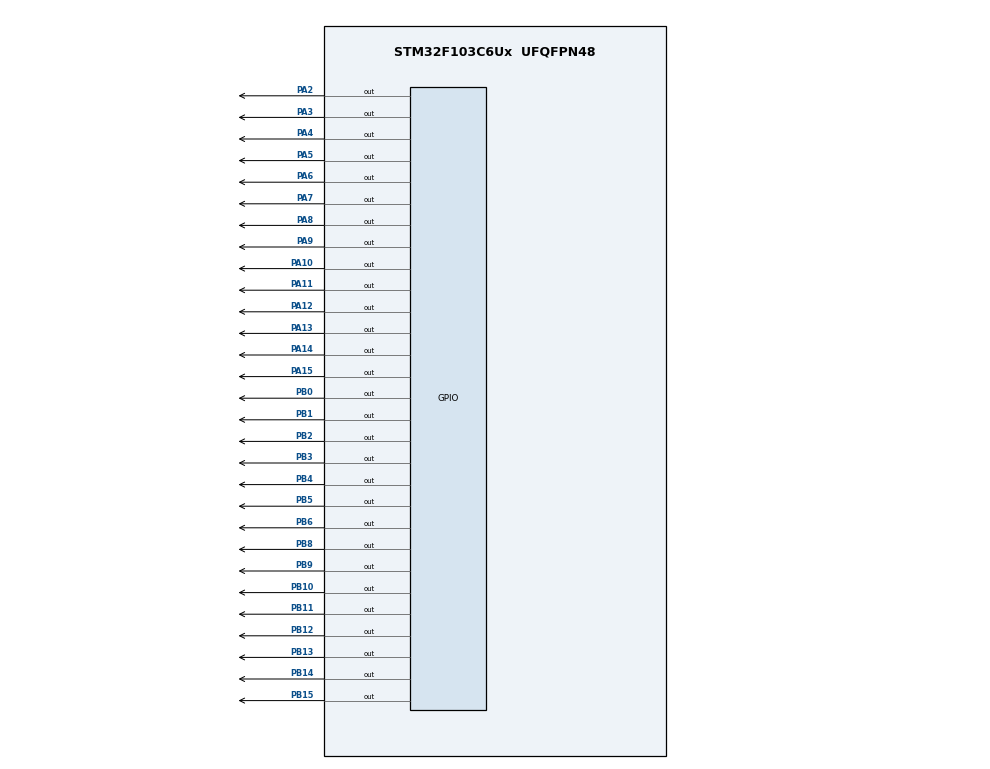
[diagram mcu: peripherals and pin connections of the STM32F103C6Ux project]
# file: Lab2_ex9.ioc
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Mcu.Family=STM32F1
Mcu.Name=STM32F103C6Ux
Mcu.Package=UFQFPN48
NVIC.PriorityGroup=NVIC_PRIORITYGROUP_4
NVIC.TIM2_IRQn=true\:0\:0\:false\:false\:true\:true\:true
PA10.Signal=GPIO_Output
PA11.Signal=GPIO_Output
PA12.Signal=GPIO_Output
PA13.Signal=GPIO_Output
PA14.Signal=GPIO_Output
PA15.Signal=GPIO_Output
PA2.Signal=GPIO_Output
PA3.Signal=GPIO_Output
PA4.Signal=GPIO_Output
PA5.Signal=GPIO_Output
PA6.Signal=GPIO_Output
PA7.Signal=GPIO_Output
PA8.Signal=GPIO_Output
PA9.Signal=GPIO_Output
PB0.Signal=GPIO_Output
PB1.Signal=GPIO_Output
PB10.Signal=GPIO_Output
PB11.Signal=GPIO_Output
PB12.Signal=GPIO_Output
PB13.Signal=GPIO_Output
PB14.Signal=GPIO_Output
PB15.Signal=GPIO_Output
PB2.Signal=GPIO_Output
PB3.Signal=GPIO_Output
PB4.Signal=GPIO_Output
PB5.Signal=GPIO_Output
PB6.Signal=GPIO_Output
PB8.Signal=GPIO_Output
PB9.Signal=GPIO_Output
ProjectManager.HeapSize=0x200
ProjectManager.StackSize=0x400
ProjectManager.TargetToolchain=STM32CubeIDE
RCC.APB1Freq_Value=8000000
RCC.APB2Freq_Value=8000000
TIM2.Period=1
TIM2.Prescaler=7999
VP_SYS_VS_ND.Mode=No_Debug
VP_TIM2_VS_ClockSourceINT.Mode=Internal
board=custom

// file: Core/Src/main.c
/* USER CODE BEGIN Header */
/**
  ******************************************************************************
  * @file           : main.c
  * @brief          : Main program body
  ******************************************************************************
  * @attention
  *
  * <h2><center>&copy; Copyright (c) 2025 STMicroelectronics.
  * All rights reserved.</center></h2>
  *
  * This software component is licensed by ST under BSD 3-Clause license,
  * the "License"; You may not use this file except in compliance with the
  * License. You may obtain a copy of the License at:
  *                        opensource.org/licenses/BSD-3-Clause
  *
  ******************************************************************************
  */
/* USER CODE END Header */
#include "main.h"

TIM_HandleTypeDef htim2;

void SystemClock_Config(void);
static void MX_GPIO_Init(void);
static void MX_TIM2_Init(void);

/* USER CODE BEGIN 0 */
void display7SEG(uint8_t num){
	if (num > 9) return;
	switch (num)
	{
	case 0:
		HAL_GPIO_WritePin(GPIOB, GPIO_PIN_0, GPIO_PIN_RESET);
		HAL_GPIO_WritePin(GPIOB, GPIO_PIN_1, GPIO_PIN_RESET);
		HAL_GPIO_WritePin(GPIOB, GPIO_PIN_2, GPIO_PIN_RESET);
		HAL_GPIO_WritePin(GPIOB, GPIO_PIN_3, GPIO_PIN_RESET);
		HAL_GPIO_WritePin(GPIOB, GPIO_PIN_4, GPIO_PIN_RESET);
		HAL_GPIO_WritePin(GPIOB, GPIO_PIN_5, GPIO_PIN_RESET);
		HAL_GPIO_WritePin(GPIOB, GPIO_PIN_6, GPIO_PIN_SET);
		break;
	case 1:
		HAL_GPIO_WritePin(GPIOB, GPIO_PIN_0, GPIO_PIN_SET);
		HAL_GPIO_WritePin(GPIOB, GPIO_PIN_1, GPIO_PIN_RESET);
		HAL_GPIO_WritePin(GPIOB, GPIO_PIN_2, GPIO_PIN_RESET);
		HAL_GPIO_WritePin(GPIOB, GPIO_PIN_3, GPIO_PIN_SET);
		HAL_GPIO_WritePin(GPIOB, GPIO_PIN_4, GPIO_PIN_SET);
		HAL_GPIO_WritePin(GPIOB, GPIO_PIN_5, GPIO_PIN_SET);
		HAL_GPIO_WritePin(GPIOB, GPIO_PIN_6, GPIO_PIN_SET);
		break;
	case 2:
		HAL_GPIO_WritePin(GPIOB, GPIO_PIN_0, GPIO_PIN_RESET);
		HAL_GPIO_WritePin(GPIOB, GPIO_PIN_1, GPIO_PIN_RESET);
		HAL_GPIO_WritePin(GPIOB, GPIO_PIN_2, GPIO_PIN_SET);
		HAL_GPIO_WritePin(GPIOB, GPIO_PIN_3, GPIO_PIN_RESET);
		HAL_GPIO_WritePin(GPIOB, GPIO_PIN_4, GPIO_PIN_RESET);
		HAL_GPIO_WritePin(GPIOB, GPIO_PIN_5, GPIO_PIN_SET);
		HAL_GPIO_WritePin(GPIOB, GPIO_PIN_6, GPIO_PIN_RESET);
		break;
	case 3:
		HAL_GPIO_WritePin(GPIOB, GPIO_PIN_0, GPIO_PIN_RESET);
		HAL_GPIO_WritePin(GPIOB, GPIO_PIN_1, GPIO_PIN_RESET);
		HAL_GPIO_WritePin(GPIOB, GPIO_PIN_2, GPIO_PIN_RESET);
		HAL_GPIO_WritePin(GPIOB, GPIO_PIN_3, GPIO_PIN_RESET);
		HAL_GPIO_WritePin(GPIOB, GPIO_PIN_4, GPIO_PIN_SET);
		HAL_GPIO_WritePin(GPIOB, GPIO_PIN_5, GPIO_PIN_SET);
		HAL_GPIO_WritePin(GPIOB, GPIO_PIN_6, GPIO_PIN_RESET);
		break;
	case 4:
        HAL_GPIO_WritePin(GPIOB, GPIO_PIN_0, GPIO_PIN_SET);
        HAL_GPIO_WritePin(GPIOB, GPIO_PIN_1, GPIO_PIN_RESET);
        HAL_GPIO_WritePin(GPIOB, GPIO_PIN_2, GPIO_PIN_RESET);
        HAL_GPIO_WritePin(GPIOB, GPIO_PIN_3, GPIO_PIN_SET);
        HAL_GPIO_WritePin(GPIOB, GPIO_PIN_4, GPIO_PIN_SET);
        HAL_GPIO_WritePin(GPIOB, GPIO_PIN_5, GPIO_PIN_RESET);
        HAL_GPIO_WritePin(GPIOB, GPIO_PIN_6, GPIO_PIN_RESET);
        break;
	case 5:
		HAL_GPIO_WritePin(GPIOB, GPIO_PIN_0, GPIO_PIN_RESET);
		HAL_GPIO_WritePin(GPIOB, GPIO_PIN_1, GPIO_PIN_SET);
		HAL_GPIO_WritePin(GPIOB, GPIO_PIN_2, GPIO_PIN_RESET);
		HAL_GPIO_WritePin(GPIOB, GPIO_PIN_3, GPIO_PIN_RESET);
		HAL_GPIO_WritePin(GPIOB, GPIO_PIN_4, GPIO_PIN_SET);
		HAL_GPIO_WritePin(GPIOB, GPIO_PIN_5, GPIO_PIN_RESET);
		HAL_GPIO_WritePin(GPIOB, GPIO_PIN_6, GPIO_PIN_RESET);
		break;
	case 6:
		HAL_GPIO_WritePin(GPIOB, GPIO_PIN_0, GPIO_PIN_RESET);
		HAL_GPIO_WritePin(GPIOB, GPIO_PIN_1, GPIO_PIN_SET);
		HAL_GPIO_WritePin(GPIOB, GPIO_PIN_2, GPIO_PIN_RESET);
		HAL_GPIO_WritePin(GPIOB, GPIO_PIN_3, GPIO_PIN_RESET);
		HAL_GPIO_WritePin(GPIOB, GPIO_PIN_4, GPIO_PIN_RESET);
		HAL_GPIO_WritePin(GPIOB, GPIO_PIN_5, GPIO_PIN_RESET);
		HAL_GPIO_WritePin(GPIOB, GPIO_PIN_6, GPIO_PIN_RESET);
		break;
	case 7:
		HAL_GPIO_WritePin(GPIOB, GPIO_PIN_0, GPIO_PIN_RESET);
		HAL_GPIO_WritePin(GPIOB, GPIO_PIN_1, GPIO_PIN_RESET);
		HAL_GPIO_WritePin(GPIOB, GPIO_PIN_2, GPIO_PIN_RESET);
		HAL_GPIO_WritePin(GPIOB, GPIO_PIN_3, GPIO_PIN_SET);
		HAL_GPIO_WritePin(GPIOB, GPIO_PIN_4, GPIO_PIN_SET);
		HAL_GPIO_WritePin(GPIOB, GPIO_PIN_5, GPIO_PIN_SET);
		HAL_GPIO_WritePin(GPIOB, GPIO_PIN_6, GPIO_PIN_SET);
		break;
	case 8:
		HAL_GPIO_WritePin(GPIOB, GPIO_PIN_0, GPIO_PIN_RESET);
		HAL_GPIO_WritePin(GPIOB, GPIO_PIN_1, GPIO_PIN_RESET);
		HAL_GPIO_WritePin(GPIOB, GPIO_PIN_2, GPIO_PIN_RESET);
		HAL_GPIO_WritePin(GPIOB, GPIO_PIN_3, GPIO_PIN_RESET);
		HAL_GPIO_WritePin(GPIOB, GPIO_PIN_4, GPIO_PIN_RESET);
		HAL_GPIO_WritePin(GPIOB, GPIO_PIN_5, GPIO_PIN_RESET);
		HAL_GPIO_WritePin(GPIOB, GPIO_PIN_6, GPIO_PIN_RESET);
		break;
	case 9:
		HAL_GPIO_WritePin(GPIOB, GPIO_PIN_0, GPIO_PIN_RESET);
		HAL_GPIO_WritePin(GPIOB, GPIO_PIN_1, GPIO_PIN_RESET);
		HAL_GPIO_WritePin(GPIOB, GPIO_PIN_2, GPIO_PIN_RESET);
		HAL_GPIO_WritePin(GPIOB, GPIO_PIN_3, GPIO_PIN_RESET);
HAL_GPIO_WritePin(GPIOB, GPIO_PIN_4, GPIO_PIN_SET);
		HAL_GPIO_WritePin(GPIOB, GPIO_PIN_5, GPIO_PIN_RESET);
		HAL_GPIO_WritePin(GPIOB, GPIO_PIN_6, GPIO_PIN_RESET);
		break;
	default:
		HAL_GPIO_WritePin(GPIOB, GPIO_PIN_0, GPIO_PIN_SET);
		HAL_GPIO_WritePin(GPIOB, GPIO_PIN_1, GPIO_PIN_SET);
		HAL_GPIO_WritePin(GPIOB, GPIO_PIN_2, GPIO_PIN_SET);
		HAL_GPIO_WritePin(GPIOB, GPIO_PIN_3, GPIO_PIN_SET);
		HAL_GPIO_WritePin(GPIOB, GPIO_PIN_4, GPIO_PIN_SET);
		HAL_GPIO_WritePin(GPIOB, GPIO_PIN_5, GPIO_PIN_SET);
		HAL_GPIO_WritePin(GPIOB, GPIO_PIN_6, GPIO_PIN_SET);
		break;
	}
}

const int MAX_LED = 4;
int index_led = 0;
int led_buffer[4];

void update7SEG(int index) {
	HAL_GPIO_WritePin(GPIOA, GPIO_PIN_6|GPIO_PIN_7|GPIO_PIN_8|GPIO_PIN_9, GPIO_PIN_SET);

	display7SEG(led_buffer[index]);

	switch(index){
		case 0: HAL_GPIO_WritePin(GPIOA, GPIO_PIN_6, GPIO_PIN_RESET); break;
		case 1: HAL_GPIO_WritePin(GPIOA, GPIO_PIN_7, GPIO_PIN_RESET); break;
		case 2: HAL_GPIO_WritePin(GPIOA, GPIO_PIN_8, GPIO_PIN_RESET); break;
		case 3: HAL_GPIO_WritePin(GPIOA, GPIO_PIN_9, GPIO_PIN_RESET); break;

	}
}

void updateClockBuffer(int hour, int minute)
{
    led_buffer[0] = (hour / 10) % 10;
    led_buffer[1] = hour % 10;
    led_buffer[2] = (minute / 10) % 10;
    led_buffer[3] = minute % 10;
}

int timer0_counter = 0;
int timer0_flag = 0;
int timer1_counter = 0;
int timer1_flag = 0;
int timer2_counter = 0;
int timer2_flag = 0;
int timer3_counter = 0;
int timer3_flag = 0;
int TIMER_CYCLE = 1;

void setTimer0(int duration) {
    timer0_counter = duration / TIMER_CYCLE;
    timer0_flag = 0;
}

void setTimer1(int duration) {
    timer1_counter = duration / TIMER_CYCLE;
    timer1_flag = 0;
}

void setTimer2(int duration) {
    timer2_counter = duration / TIMER_CYCLE;
    timer2_flag = 0;
}

void setTimer3(int duration) {
    timer3_counter = duration / TIMER_CYCLE;
    timer3_flag = 0;
}

void timer_run() {
    if (timer0_counter > 0) {
        timer0_counter--;
        if (timer0_counter <= 0) timer0_flag = 1;
    }
    if (timer1_counter > 0) {
        timer1_counter--;
        if (timer1_counter <= 0) timer1_flag = 1;
    }
    if (timer2_counter > 0) {
		timer2_counter--;
		if (timer2_counter <= 0) timer2_flag = 1;
	}
    if (timer3_counter > 0) {
		timer3_counter--;
		if (timer3_counter <= 0) timer3_flag = 1;
	}
}

void HAL_TIM_PeriodElapsedCallback(TIM_HandleTypeDef *htim) {
	if (htim->Instance == TIM2) {
		timer_run();
	}
}

const int MAX_LED_MATRIX = 8;
int index_led_matrix = 0;
uint8_t matrix_buffer[8] = {
	0b00111000,
	0b01000100,
	0b10000010,
	0b11111110,
	0b10000010,
	0b10000010,
	0b10000010,
	0b00000000
};

GPIO_TypeDef* rowPort = GPIOA;
const uint16_t rowPins[8] = {
    GPIO_PIN_2,  // ENM0
    GPIO_PIN_3,  // ENM1
    GPIO_PIN_10, // ENM2
    GPIO_PIN_11, // ENM3
    GPIO_PIN_12, // ENM4
    GPIO_PIN_13, // ENM5
    GPIO_PIN_14, // ENM6
	GPIO_PIN_15  // ENM7
};

GPIO_TypeDef* colPort = GPIOB;
const uint16_t colPins[8] = {
    GPIO_PIN_8,
    GPIO_PIN_9,
    GPIO_PIN_10,
    GPIO_PIN_11,
    GPIO_PIN_12,
    GPIO_PIN_13,
    GPIO_PIN_14,
    GPIO_PIN_15
};

void updateLEDMatrixRow(int r) {
    // Tắt tất cả row
    HAL_GPIO_WritePin(GPIOA, GPIO_PIN_2|GPIO_PIN_3|GPIO_PIN_10|GPIO_PIN_11|
                               GPIO_PIN_12|GPIO_PIN_13|GPIO_PIN_14|GPIO_PIN_15,
                               GPIO_PIN_SET);

    // Tắt tất cả col
    HAL_GPIO_WritePin(GPIOB, GPIO_PIN_8|GPIO_PIN_9|GPIO_PIN_10|GPIO_PIN_11|
                               GPIO_PIN_12|GPIO_PIN_13|GPIO_PIN_14|GPIO_PIN_15,
                               GPIO_PIN_SET);

    // Lấy dữ liệu cho row r
    uint8_t colData = matrix_buffer[r];
    for (int c = 0; c < 8; c++) {
        if (colData & (1 << (7 - c))) {
            HAL_GPIO_WritePin(GPIOB, (GPIO_PIN_8 << c), GPIO_PIN_RESET);
        }
    }

    // Bật đúng 1 row
    switch(r){
        case 0: HAL_GPIO_WritePin(GPIOA, GPIO_PIN_2,  GPIO_PIN_RESET); break;
        case 1: HAL_GPIO_WritePin(GPIOA, GPIO_PIN_3,  GPIO_PIN_RESET); break;
        case 2: HAL_GPIO_WritePin(GPIOA, GPIO_PIN_10, GPIO_PIN_RESET); break;
        case 3: HAL_GPIO_WritePin(GPIOA, GPIO_PIN_11, GPIO_PIN_RESET); break;
        case 4: HAL_GPIO_WritePin(GPIOA, GPIO_PIN_12, GPIO_PIN_RESET); break;
        case 5: HAL_GPIO_WritePin(GPIOA, GPIO_PIN_13, GPIO_PIN_RESET); break;
        case 6: HAL_GPIO_WritePin(GPIOA, GPIO_PIN_14, GPIO_PIN_RESET); break;
        case 7: HAL_GPIO_WritePin(GPIOA, GPIO_PIN_15, GPIO_PIN_RESET); break;
    }
}

/* USER CODE END 0 */

int main(void)
{

  /* MCU Configuration--------------------------------------------------------*/

  /* Reset of all peripherals, Initializes the Flash interface and the Systick. */
  HAL_Init();

  /* Configure the system clock */
  SystemClock_Config();

  /* Initialize all configured peripherals */
  MX_GPIO_Init();
  MX_TIM2_Init();
  /* USER CODE BEGIN 2 */
  HAL_TIM_Base_Start_IT(&htim2);
  setTimer3(2);
  /* USER CODE END 2 */

  /* Infinite loop */
  /* USER CODE BEGIN WHILE */
  while (1)
  {
	  if (timer3_flag) {
	      timer3_flag = 0;
	      setTimer3(2);
	      updateLEDMatrixRow(index_led_matrix);
	      index_led_matrix++;
	      if (index_led_matrix >= 8) index_led_matrix = 0;
	  }

    /* USER CODE END WHILE */

  }
}

void SystemClock_Config(void)
{
  RCC_OscInitTypeDef RCC_OscInitStruct = {0};
  RCC_ClkInitTypeDef RCC_ClkInitStruct = {0};

  /** Initializes the RCC Oscillators according to the specified parameters
  * in the RCC_OscInitTypeDef structure.
  */
  RCC_OscInitStruct.OscillatorType = RCC_OSCILLATORTYPE_HSI;
  RCC_OscInitStruct.HSIState = RCC_HSI_ON;
  RCC_OscInitStruct.HSICalibrationValue = RCC_HSICALIBRATION_DEFAULT;
  RCC_OscInitStruct.PLL.PLLState = RCC_PLL_NONE;
  if (HAL_RCC_OscConfig(&RCC_OscInitStruct) != HAL_OK)
  {
    Error_Handler();
  }
  /** Initializes the CPU, AHB and APB buses clocks
  */
  RCC_ClkInitStruct.ClockType = RCC_CLOCKTYPE_HCLK|RCC_CLOCKTYPE_SYSCLK
                              |RCC_CLOCKTYPE_PCLK1|RCC_CLOCKTYPE_PCLK2;
  RCC_ClkInitStruct.SYSCLKSource = RCC_SYSCLKSOURCE_HSI;
  RCC_ClkInitStruct.AHBCLKDivider = RCC_SYSCLK_DIV1;
  RCC_ClkInitStruct.APB1CLKDivider = RCC_HCLK_DIV1;
  RCC_ClkInitStruct.APB2CLKDivider = RCC_HCLK_DIV1;

  if (HAL_RCC_ClockConfig(&RCC_ClkInitStruct, FLASH_LATENCY_0) != HAL_OK)
  {
    Error_Handler();
  }
}

static void MX_TIM2_Init(void)
{

  TIM_ClockConfigTypeDef sClockSourceConfig = {0};
  TIM_MasterConfigTypeDef sMasterConfig = {0};

  htim2.Instance = TIM2;
  htim2.Init.Prescaler = 7999;
  htim2.Init.CounterMode = TIM_COUNTERMODE_UP;
  htim2.Init.Period = 1;
  htim2.Init.ClockDivision = TIM_CLOCKDIVISION_DIV1;
  htim2.Init.AutoReloadPreload = TIM_AUTORELOAD_PRELOAD_DISABLE;
  if (HAL_TIM_Base_Init(&htim2) != HAL_OK)
  {
    Error_Handler();
  }
  sClockSourceConfig.ClockSource = TIM_CLOCKSOURCE_INTERNAL;
  if (HAL_TIM_ConfigClockSource(&htim2, &sClockSourceConfig) != HAL_OK)
  {
    Error_Handler();
  }
  sMasterConfig.MasterOutputTrigger = TIM_TRGO_RESET;
  sMasterConfig.MasterSlaveMode = TIM_MASTERSLAVEMODE_DISABLE;
  if (HAL_TIMEx_MasterConfigSynchronization(&htim2, &sMasterConfig) != HAL_OK)
  {
    Error_Handler();
  }

}

static void MX_GPIO_Init(void)
{
  GPIO_InitTypeDef GPIO_InitStruct = {0};

  /* GPIO Ports Clock Enable */
  __HAL_RCC_GPIOA_CLK_ENABLE();
  __HAL_RCC_GPIOB_CLK_ENABLE();

  /*Configure GPIO pin Output Level */
  HAL_GPIO_WritePin(GPIOA, GPIO_PIN_2|GPIO_PIN_3|GPIO_PIN_4|GPIO_PIN_5
                          |GPIO_PIN_6|GPIO_PIN_7|GPIO_PIN_8|GPIO_PIN_9
                          |GPIO_PIN_10|GPIO_PIN_11|GPIO_PIN_12|GPIO_PIN_13
                          |GPIO_PIN_14|GPIO_PIN_15, GPIO_PIN_SET);

  /*Configure GPIO pin Output Level */
  HAL_GPIO_WritePin(GPIOB, GPIO_PIN_0|GPIO_PIN_1|GPIO_PIN_2|GPIO_PIN_10
                          |GPIO_PIN_11|GPIO_PIN_12|GPIO_PIN_13|GPIO_PIN_14
                          |GPIO_PIN_15|GPIO_PIN_3|GPIO_PIN_4|GPIO_PIN_5
                          |GPIO_PIN_6|GPIO_PIN_8|GPIO_PIN_9, GPIO_PIN_SET);

  /*Configure GPIO pins : PA2 PA3 PA4 PA5
                           PA6 PA7 PA8 PA9
                           PA10 PA11 PA12 PA13
                           PA14 PA15 */
  GPIO_InitStruct.Pin = GPIO_PIN_2|GPIO_PIN_3|GPIO_PIN_4|GPIO_PIN_5
                          |GPIO_PIN_6|GPIO_PIN_7|GPIO_PIN_8|GPIO_PIN_9
                          |GPIO_PIN_10|GPIO_PIN_11|GPIO_PIN_12|GPIO_PIN_13
                          |GPIO_PIN_14|GPIO_PIN_15;
  GPIO_InitStruct.Mode = GPIO_MODE_OUTPUT_PP;
  GPIO_InitStruct.Pull = GPIO_NOPULL;
  GPIO_InitStruct.Speed = GPIO_SPEED_FREQ_LOW;
  HAL_GPIO_Init(GPIOA, &GPIO_InitStruct);

  /*Configure GPIO pins : PB0 PB1 PB2 PB10
                           PB11 PB12 PB13 PB14
                           PB15 PB3 PB4 PB5
                           PB6 PB8 PB9 */
  GPIO_InitStruct.Pin = GPIO_PIN_0|GPIO_PIN_1|GPIO_PIN_2|GPIO_PIN_10
                          |GPIO_PIN_11|GPIO_PIN_12|GPIO_PIN_13|GPIO_PIN_14
                          |GPIO_PIN_15|GPIO_PIN_3|GPIO_PIN_4|GPIO_PIN_5
                          |GPIO_PIN_6|GPIO_PIN_8|GPIO_PIN_9;
  GPIO_InitStruct.Mode = GPIO_MODE_OUTPUT_PP;
  GPIO_InitStruct.Pull = GPIO_NOPULL;
  GPIO_InitStruct.Speed = GPIO_SPEED_FREQ_LOW;
  HAL_GPIO_Init(GPIOB, &GPIO_InitStruct);

}

void Error_Handler(void)
{
  __disable_irq();
  while (1)
  {
  }
}

/************************ (C) COPYRIGHT STMicroelectronics *****END OF FILE****/
